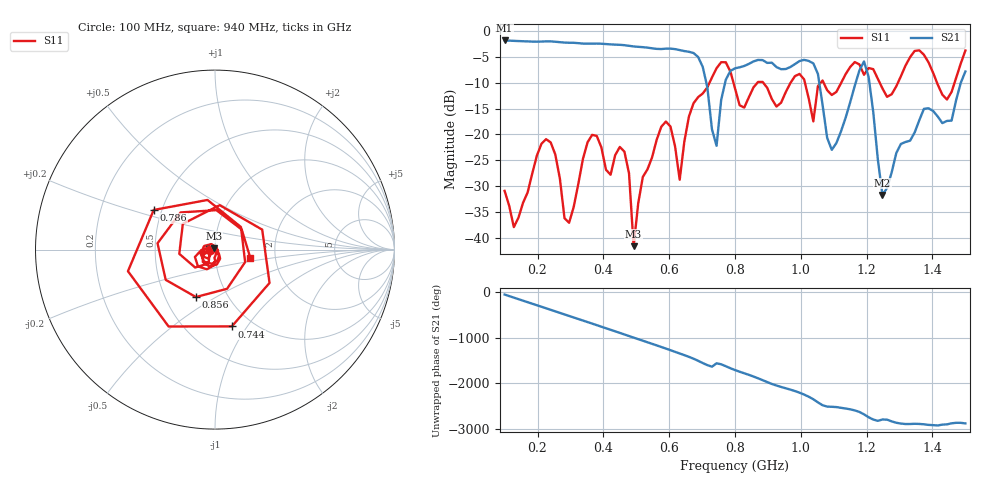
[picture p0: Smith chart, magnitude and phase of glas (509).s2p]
! NanoVNA-App
! Date: 2025-09-25 15:59:26
! Start: 100MHz Stop: 1,5GHz Points: 101
! S-Parameter data: F S11 S21 S12 S22
# Hz S RI R 50
!  Frequency  S11_Real  S11_Imag  S21_Real  S21_Imag  S12_Real  S12_Imag  S22_Real  S22_Imag
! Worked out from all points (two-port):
!   101 points, 100 MHz to 1.5 GHz, reference 50 ohm
!   highest |S21| = -1.80 dB at 100 MHz (marker M1); lowest = -31.8 dB at 1.248 GHz (marker M2)
!   |S21| within 3 dB of the highest: start of sweep to 684.2 MHz
!   lowest |S11| = -41.6 dB at 492 MHz (marker M3), VSWR 1.02, Z = 49.5 + j0.628 ohm
!   |S11| at or under -10 dB: start of sweep to 722.5 MHz; 795.4 MHz to 867.9 MHz (72.47 MHz wide, 8.71 % of centre); 886 MHz to 968.8 MHz (82.86 MHz wide, 8.93 % of centre) (the widest 3 of 7)
!   S12 and S22 are empty: the file has one direction only
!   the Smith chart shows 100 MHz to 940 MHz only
!   S11 on the Smith chart (normalised r, x): 100 MHz: 0.95, -0.01; 744 MHz: 0.80, -0.85; 786 MHz: 0.45, +0.24; 856 MHz: 0.71, -0.41; 940 MHz: 1.48, -0.15
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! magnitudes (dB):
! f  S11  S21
! 100 MHz  -30.9  -1.8
! 128 MHz  -38.0  -1.9
! 226 MHz  -20.9  -2.0
! 296 MHz  -37.1  -2.2
! 338 MHz  -24.7  -2.4
! 464 MHz  -23.3  -2.7
! 492 MHz  -41.6  -3.0
! 576 MHz  -18.5  -3.5
! 632 MHz  -28.8  -3.7
! 702 MHz  -12.1  -6.9
! 744 MHz  -7.2  -22.2
! 786 MHz  -7.8  -7.7
! 800 MHz  -11.1  -7.2
! 856 MHz  -10.9  -5.9
! 940 MHz  -13.9  -7.4
! 996 MHz  -8.3  -5.8
! 1.038 GHz  -17.5  -6.2
! 1.094 GHz  -12.4  -23.0
! 1.192 GHz  -8.4  -5.9
! 1.248 GHz  -11.1  -31.8
! 1.276 GHz  -12.2  -27.4
! 1.5 GHz  -3.8  -7.8
